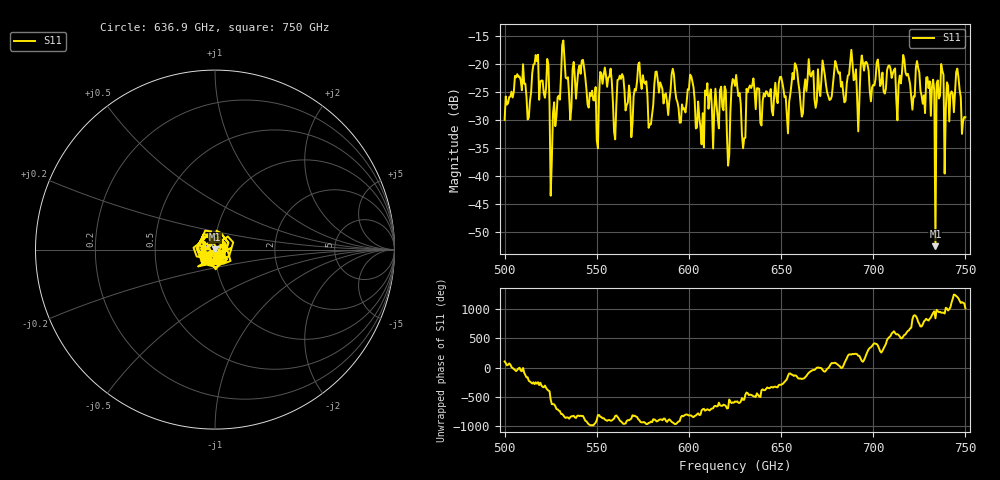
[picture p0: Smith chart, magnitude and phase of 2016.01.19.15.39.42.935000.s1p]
!Created with skrf (http://scikit-rf.org).
# GHz S RI R 50.0
!freq ReS11 ImS11
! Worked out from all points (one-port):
!   401 points, 500 GHz to 750 GHz, reference 50 ohm
!   lowest |S11| = -52.5 dB at 733.8 GHz (marker M1), VSWR 1.00, Z = 49.9 + j0.193 ohm
!   |S11| at or under -10 dB: start of sweep to end of sweep
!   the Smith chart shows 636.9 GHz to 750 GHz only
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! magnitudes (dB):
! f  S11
! 500 GHz  -30.0
! 506.9 GHz  -21.8
! 513.1 GHz  -29.6
! 516.9 GHz  -18.4
! 523.1 GHz  -19.1
! 526.2 GHz  -28.8
! 531.2 GHz  -16.6
! 549.4 GHz  -24.1
! 553.1 GHz  -23.6
! 559.4 GHz  -32.1
! 562.5 GHz  -22.1
! 593.8 GHz  -26.8
! 601.2 GHz  -22.2
! 606.9 GHz  -34.4
! 618.8 GHz  -28.3
! 621.2 GHz  -38.2
! 625 GHz  -23.9
! 629.4 GHz  -35.1
! 633.8 GHz  -24.3
! 653.1 GHz  -29.2
! 656.2 GHz  -21.6
! 687.5 GHz  -19.7
! 691.2 GHz  -26.0
! 695 GHz  -21.2
! 718.8 GHz  -21.8
! 733.8 GHz  -52.5
! 745.6 GHz  -20.8
! 750 GHz  -29.5
